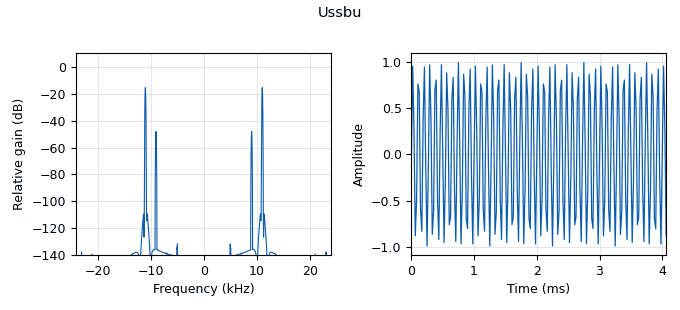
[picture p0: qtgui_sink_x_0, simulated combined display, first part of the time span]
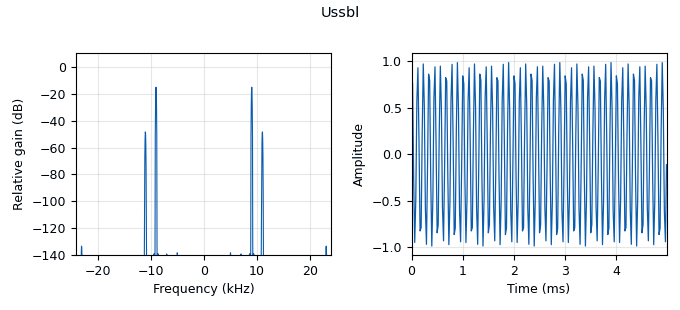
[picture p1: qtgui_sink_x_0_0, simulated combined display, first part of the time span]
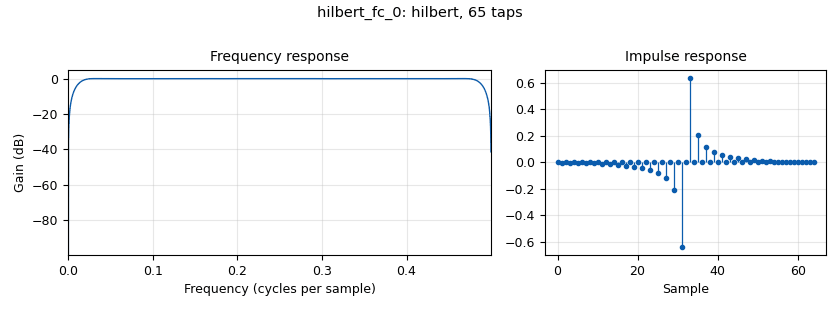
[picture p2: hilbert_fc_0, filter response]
options:
  parameters:
    generate_options: qt_gui
    id: SSB_Hilbert
    output_language: python
    title: 哈特利调制
  states: {}

blocks:
- name: carrier_freq
  id: variable_qtgui_range
  parameters:
    label: carrier_freq
    start: '5000'
    step: '0.1'
    stop: '15000'
    value: '10000'
  states: {}
- name: mod_freq
  id: variable_qtgui_range
  parameters:
    label: mod_freq
    start: '300'
    step: '100'
    stop: '2700'
    value: '1000'
  states: {}
- name: samp_rate
  id: variable
  parameters:
    value: '48000'
  states: {}
- name: analog_sig_source_x_0
  id: analog_sig_source_x
  parameters:
    amp: '1'
    comment: |-
      cos(wc*t)
      https://wiki.gnuradio.org/index.php?title=Signal_Source
    freq: carrier_freq
    offset: '0'
    phase: '0'
    samp_rate: samp_rate
    type: complex
    waveform: analog.GR_COS_WAVE
  states: {}
- name: analog_sig_source_x_0_0
  id: analog_sig_source_x
  parameters:
    amp: '1'
    comment: cos(wm*t)
    freq: mod_freq
    offset: '0'
    phase: '0'
    samp_rate: samp_rate
    type: float
    waveform: analog.GR_COS_WAVE
  states: {}
- name: blocks_add_xx_0
  id: blocks_add_xx
  parameters:
    comment: |-
      Ussbu(t) = C + S
      = cos(wc*t)*cos(wm*t-pi/2) - sin(wc*t)*sin(wm*t-pi/2)
    type: float
  states: {}
- name: blocks_complex_to_float_0
  id: blocks_complex_to_float
  parameters: {}
  states: {}
- name: blocks_complex_to_float_0_0
  id: blocks_complex_to_float
  parameters: {}
  states: {}
- name: blocks_complex_to_float_0_0_0
  id: blocks_complex_to_float
  parameters: {}
  states: {}
- name: blocks_multiply_xx_0
  id: blocks_multiply_xx
  parameters:
    type: float
  states: {}
- name: blocks_multiply_xx_0_0
  id: blocks_multiply_xx
  parameters:
    comment: |-
      C: cos(wc*t)*cos(wm*t-pi/2) 
      S: sin(wc*t)*cos(wm*t)
          = - sin(wc*t)*sin(wm*t-pi/2)
      note: cos(wm*t) = -sin(wm*t-pi/2)
    type: float
  states: {}
- name: blocks_null_sink_0
  id: blocks_null_sink
  parameters:
    type: float
  states: {}
- name: blocks_null_sink_0_0
  id: blocks_null_sink
  parameters:
    type: float
  states: {}
- name: blocks_sub_xx_0
  id: blocks_sub_xx
  parameters:
    comment: |-
      Ussbl(t) = C - S
      = cos(wc*t)*cos(wm*t-pi/2) + sin(wc*t)*sin(wm*t-pi/2)
    type: float
  states: {}
- name: hilbert_fc_0
  id: hilbert_fc
  parameters:
    num_taps: '65'
  states: {}
- name: hilbert_fc_0_0
  id: hilbert_fc
  parameters:
    comment: |-
      实际输出是适当延迟的输入。
      虚数输出是输入的希尔伯特滤波
      （90 度相移）。
    num_taps: '65'
  states: {}
- name: qtgui_sink_x_0
  id: qtgui_sink_x
  parameters:
    bw: samp_rate
    fc: '0'
    fftsize: '1024'
    gui_hint: (0,0)
    name: '"Ussbu"'
    type: float
  states: {}
- name: qtgui_sink_x_0_0
  id: qtgui_sink_x
  parameters:
    bw: samp_rate
    comment: |-
      .
      GUI Hint
      https://wiki.gnuradio.org/index.php?title=GUI_Hint
    fc: '0'
    fftsize: '1024'
    gui_hint: (1,0)
    name: '"Ussbl"'
    type: float
  states: {}

connections:
- [analog_sig_source_x_0, '0', blocks_complex_to_float_0_0_0, '0']
- [analog_sig_source_x_0_0, '0', hilbert_fc_0, '0']
- [analog_sig_source_x_0_0, '0', hilbert_fc_0_0, '0']
- [blocks_add_xx_0, '0', qtgui_sink_x_0, '0']
- [blocks_complex_to_float_0, '0', blocks_null_sink_0, '0']
- [blocks_complex_to_float_0, '1', blocks_multiply_xx_0, '0']
- [blocks_complex_to_float_0_0, '0', blocks_multiply_xx_0_0, '0']
- [blocks_complex_to_float_0_0, '1', blocks_null_sink_0_0, '0']
- [blocks_complex_to_float_0_0_0, '0', blocks_multiply_xx_0, '1']
- [blocks_complex_to_float_0_0_0, '1', blocks_multiply_xx_0_0, '1']
- [blocks_multiply_xx_0, '0', blocks_add_xx_0, '0']
- [blocks_multiply_xx_0, '0', blocks_sub_xx_0, '0']
- [blocks_multiply_xx_0_0, '0', blocks_add_xx_0, '1']
- [blocks_multiply_xx_0_0, '0', blocks_sub_xx_0, '1']
- [blocks_sub_xx_0, '0', qtgui_sink_x_0_0, '0']
- [hilbert_fc_0, '0', blocks_complex_to_float_0, '0']
- [hilbert_fc_0_0, '0', blocks_complex_to_float_0_0, '0']

metadata:
  file_format: 1
  grc_version: 3.10.11.0
